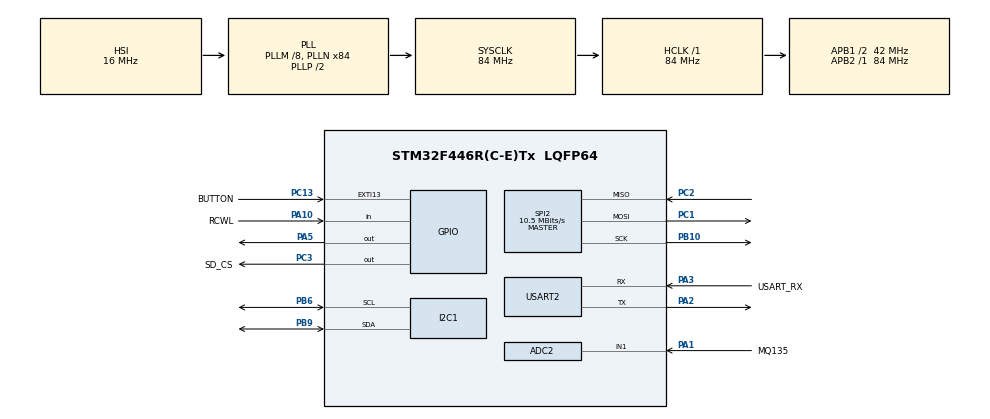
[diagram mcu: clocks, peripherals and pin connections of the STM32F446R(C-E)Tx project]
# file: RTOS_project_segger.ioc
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ADC1.Channel-2\#ChannelRegularConversion=ADC_CHANNEL_TEMPSENSOR
ADC1.Channel-3\#ChannelRegularConversion=ADC_CHANNEL_VREFINT
ADC1.ClockPrescaler=ADC_CLOCK_SYNC_PCLK_DIV4
ADC1.ContinuousConvMode=DISABLE
ADC1.DMAContinuousRequests=ENABLE
ADC1.ExternalTrigConv=ADC_EXTERNALTRIGCONV_T3_TRGO
ADC1.ExternalTrigConvEdge=ADC_EXTERNALTRIGCONVEDGE_FALLING
ADC1.NbrOfConversion=2
ADC1.NbrOfConversionFlag=1
ADC1.Rank-2\#ChannelRegularConversion=1
ADC1.Rank-3\#ChannelRegularConversion=2
ADC1.SamplingTime-2\#ChannelRegularConversion=ADC_SAMPLETIME_480CYCLES
ADC1.SamplingTime-3\#ChannelRegularConversion=ADC_SAMPLETIME_480CYCLES
ADC1.ScanConvMode=ENABLE
ADC1.master=1
ADC2.Channel-1\#ChannelRegularConversion=ADC_CHANNEL_1
ADC2.ClockPrescaler=ADC_CLOCK_SYNC_PCLK_DIV4
ADC2.NbrOfConversionFlag=1
ADC2.Rank-1\#ChannelRegularConversion=1
ADC2.SamplingTime-1\#ChannelRegularConversion=ADC_SAMPLETIME_480CYCLES
Dma.ADC1.0.Direction=DMA_PERIPH_TO_MEMORY
Dma.ADC1.0.FIFOMode=DMA_FIFOMODE_DISABLE
Dma.ADC1.0.Instance=DMA2_Stream0
Dma.ADC1.0.MemDataAlignment=DMA_MDATAALIGN_HALFWORD
Dma.ADC1.0.MemInc=DMA_MINC_ENABLE
Dma.ADC1.0.Mode=DMA_CIRCULAR
Dma.ADC1.0.PeriphDataAlignment=DMA_PDATAALIGN_HALFWORD
Dma.ADC1.0.PeriphInc=DMA_PINC_DISABLE
Dma.ADC1.0.Priority=DMA_PRIORITY_HIGH
Dma.Request0=ADC1
FATFS._MAX_SS=4096
FATFS._USE_LFN=2
FREERTOS.Tasks01=idleTask,24,128,StartDefaultTask,Default,NULL,Dynamic,NULL,NULL
FREERTOS.configGENERATE_RUN_TIME_STATS=1
FREERTOS.configUSE_NEWLIB_REENTRANT=1
FREERTOS.configUSE_STATS_FORMATTING_FUNCTIONS=1
FREERTOS.configUSE_TICKLESS_IDLE=2
I2C1.I2C_Mode=I2C_Fast
Mcu.Family=STM32F4
Mcu.Name=STM32F446R(C-E)Tx
Mcu.Package=LQFP64
NVIC.DMA2_Stream0_IRQn=true\:1\:0\:true\:false\:true\:false\:false\:true\:true
NVIC.EXTI15_10_IRQn=true\:5\:0\:false\:false\:true\:true\:true\:true\:true
NVIC.I2C1_ER_IRQn=true\:5\:0\:false\:false\:true\:true\:true\:true\:true
NVIC.I2C1_EV_IRQn=true\:5\:0\:false\:false\:true\:true\:true\:true\:true
NVIC.PriorityGroup=NVIC_PRIORITYGROUP_4
NVIC.TIM1_TRG_COM_TIM11_IRQn=true\:5\:0\:false\:false\:true\:true\:true\:true\:true
NVIC.TIM6_DAC_IRQn=true\:15\:0\:true\:false\:true\:false\:false\:true\:true
NVIC.TimeBase=TIM6_DAC_IRQn
NVIC.TimeBaseIP=TIM6
PA1.GPIO_Label=MQ135
PA1.Signal=ADCx_IN1
PA10.GPIO_Label=RCWL
PA10.Signal=GPIO_Input
PA13.GPIO_Label=TMS
PA13.Mode=Trace_Asynchronous_SW
PA13.Signal=SYS_JTMS-SWDIO
PA14.GPIO_Label=TCK
PA14.Mode=Trace_Asynchronous_SW
PA14.Signal=SYS_JTCK-SWCLK
PA2.Mode=Asynchronous
PA2.Signal=USART2_TX
PA3.GPIO_Label=USART_RX
PA3.Mode=Asynchronous
PA3.Signal=USART2_RX
PA5.Signal=GPIO_Output
PB10.Mode=Full_Duplex_Master
PB10.Signal=SPI2_SCK
PB3.GPIO_Label=SWO
PB3.Mode=Trace_Asynchronous_SW
PB3.Signal=SYS_JTDO-SWO
PB6.Mode=I2C
PB6.Signal=I2C1_SCL
PB9.Mode=I2C
PB9.Signal=I2C1_SDA
PC1.Mode=Full_Duplex_Master
PC1.Signal=SPI2_MOSI
PC13.GPIO_Label=BUTTON
PC13.GPIO_PuPd=GPIO_PULLUP
PC13.Signal=GPXTI13
PC14-OSC32_IN.Mode=LSE-External-Oscillator
PC14-OSC32_IN.Signal=RCC_OSC32_IN
PC15-OSC32_OUT.Mode=LSE-External-Oscillator
PC15-OSC32_OUT.Signal=RCC_OSC32_OUT
PC2.Mode=Full_Duplex_Master
PC2.Signal=SPI2_MISO
PC3.GPIO_Label=SD_CS
PC3.Signal=GPIO_Output
PH0-OSC_IN.Mode=HSE-External-Oscillator
PH0-OSC_IN.Signal=RCC_OSC_IN
PH1-OSC_OUT.Mode=HSE-External-Oscillator
PH1-OSC_OUT.Signal=RCC_OSC_OUT
ProjectManager.HeapSize=0x800
ProjectManager.StackSize=0x800
ProjectManager.TargetToolchain=STM32CubeIDE
RCC.AHBFreq_Value=84000000
RCC.APB1CLKDivider=RCC_HCLK_DIV2
RCC.APB1Freq_Value=42000000
RCC.APB1TimFreq_Value=84000000
RCC.APB2Freq_Value=84000000
RCC.APB2TimFreq_Value=84000000
RCC.CortexFreq_Value=84000000
RCC.FLatency-AdvancedSettings=FLASH_LATENCY_2
RCC.HCLKFreq_Value=84000000
RCC.HSE_VALUE=8000000
RCC.HSI_VALUE=16000000
RCC.PLLM=8
RCC.PLLN=84
RCC.SYSCLKFreq_VALUE=84000000
RCC.SYSCLKSource=RCC_SYSCLKSOURCE_PLLCLK
RCC.USBFreq_Value=84000000
RCC.VCOOutputFreq_Value=168000000
RTC.Alarm=RTC_ALARM_A
RTC.Date=10
RTC.Format=RTC_FORMAT_BIN
RTC.Hours=17
RTC.Minutes=42
RTC.Month=RTC_MONTH_NOVEMBER
RTC.Seconds=30
RTC.WeekDay=RTC_WEEKDAY_SUNDAY
RTC.Year=24
SH.ADCx_IN1.0=ADC2_IN1,IN1
SPI2.BaudRatePrescaler=SPI_BAUDRATEPRESCALER_4
SPI2.CalculateBaudRate=10.5 MBits/s
SPI2.Direction=SPI_DIRECTION_2LINES
SPI2.Mode=SPI_MODE_MASTER
SPI2.VirtualType=VM_MASTER
STMicroelectronics.X-CUBE-AI.9.1.0.HeapSize=0x800
STMicroelectronics.X-CUBE-AI.9.1.0.ReadyForCodeGeneration=false
STMicroelectronics.X-CUBE-AI.9.1.0.StackSize=0x800
TIM3.AutoReloadPreload=TIM_AUTORELOAD_PRELOAD_ENABLE
TIM3.Period=1000-1
TIM3.Prescaler=840-1
TIM3.TIM_MasterOutputTrigger=TIM_TRGO_UPDATE
USART2.VirtualMode=VM_ASYNC
VP_ADC1_TempSens_Input.Mode=IN-TempSens
VP_ADC1_Vref_Input.Mode=IN-Vrefint
VP_FATFS_VS_Generic.Mode=User_defined
VP_FREERTOS_VS_CMSIS_V2.Mode=CMSIS_V2
VP_RTC_VS_RTC_Activate.Mode=RTC_Enabled
VP_RTC_VS_RTC_Alarm_A_Intern.Mode=Alarm A
VP_RTC_VS_RTC_Calendar.Mode=RTC_Calendar
VP_SYS_VS_tim6.Mode=TIM6
VP_TIM11_VS_ClockSourceINT.Mode=Enable_Timer
VP_TIM3_VS_ClockSourceINT.Mode=Internal
board=NUCLEO-F446RE

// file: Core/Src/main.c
/* USER CODE BEGIN Header */
/**
  ******************************************************************************
  * @file           : main.c
  * @brief          : Main program body
  ******************************************************************************
  * @attention
  *
  * Copyright (c) 2024 STMicroelectronics.
  * All rights reserved.
  *
  * This software is licensed under terms that can be found in the LICENSE file
  * in the root directory of this software component.
  * If no LICENSE file comes with this software, it is provided AS-IS.
  *
  ******************************************************************************
  */
/* USER CODE END Header */
#include "main.h"
#include "cmsis_os.h"
#include "fatfs.h"

/* USER CODE BEGIN Includes */
#include "string.h"
#include "stdbool.h"
#include "stdlib.h"
#include "stdio.h"
#include "ssd1306.h"
#include "fonts.h"
#include "stdio.h"
#include "bitmap.h"
#include "horse_anim.h"
#include "queue.h"
#include "dma_adc.h"
#include "UART.h"
#include "semphr.h"
#include "timers.h"
#include "SEGGER_SYSVIEW.h"
/* USER CODE END Includes */

/* USER CODE BEGIN PTD */
FATFS fs;
FATFS *pfs;
FIL fil;
UINT br,bw;
FRESULT fresult;
DWORD fre_clust;
uint32_t total, free_space;
char buffer[256];
char OLEDbuffer[256];
char motionState[50];
char adcVal[50];
char tempState[50];
char SDCardUART[30];
char help_str[10];
uint16_t adc_buffer[ADC_SAMPLES * 2 * 2] = { 0 }; // ADC_SAMPLES samples, 2 channels, 2 buffers
volatile uint32_t pressStartTime = 0;
volatile uint32_t pressEndTime = 0;
volatile BaseType_t isButtonPressed = pdFALSE;
uint8_t help = 1;
uint32_t count=0;
/* USER CODE END PTD */

/* USER CODE BEGIN PD */
RTC_TimeTypeDef sTime;
RTC_DateTypeDef sDate;

/* USER CODE END PD */

ADC_HandleTypeDef hadc1;
ADC_HandleTypeDef hadc2;
DMA_HandleTypeDef hdma_adc1;

I2C_HandleTypeDef hi2c1;

RTC_HandleTypeDef hrtc;

SPI_HandleTypeDef hspi2;

TIM_HandleTypeDef htim3;
TIM_HandleTypeDef htim11;

UART_HandleTypeDef huart2;

/* Definitions for idleTask */
osThreadId_t idleTaskHandle;
const osThreadAttr_t idleTask_attributes = {
  .name = "idleTask",
  .stack_size = 128 * 4,
  .priority = (osPriority_t) osPriorityNormal,
};
/* USER CODE BEGIN PV */
#define MAX_QUEUE_SIZE 10
#define MAX_CHARS 40
/* USER CODE END PV */

void SystemClock_Config(void);
static void MX_GPIO_Init(void);
static void MX_DMA_Init(void);
static void MX_USART2_UART_Init(void);
static void MX_RTC_Init(void);
static void MX_SPI2_Init(void);
static void MX_ADC1_Init(void);
static void MX_ADC2_Init(void);
static void MX_I2C1_Init(void);
static void MX_TIM3_Init(void);
static void MX_TIM11_Init(void);
void StartDefaultTask(void *argument);

/* USER CODE BEGIN PFP */
//void MX_FREERTOS_Init(void);
void MX_FREERTOS_Init(void);
void SDCard_Init(void);
/* USER CODE END PFP */

/* USER CODE BEGIN 0 */
void vRCWLtask(void *pvParameters);
void vUARTtask(void *pvParameters);
void vAQItask(void *pvParameters);
void vRTCtask(void *pvParameters);
void vMQ135task(void *pvParameters);
void vInternalTemptask(void *pvParameters);
void vSwitchtask(void *pvParameters);
void vTimerCallback(TimerHandle_t xTimer);
void printOLED(char*string, uint8_t y);
void send_SDCard(char*string);
TaskHandle_t RCWL_Handle=NULL;
TaskHandle_t AQI_Handle=NULL;
TaskHandle_t RTC_Handle=NULL;
TaskHandle_t UART_Handle=NULL;
TaskHandle_t MQ135_Handle=NULL;
TaskHandle_t InternalTemp_Handle=NULL;
TaskHandle_t Switch_Handle=NULL;
SemaphoreHandle_t MutexOne=NULL;
SemaphoreHandle_t binarySemaphoreISR=NULL;
TimerHandle_t buttonPressTimer=NULL;

/* USER CODE END 0 */

int main(void)
{

  /* MCU Configuration--------------------------------------------------------*/

  /* Reset of all peripherals, Initializes the Flash interface and the Systick. */
  HAL_Init();

  /* Configure the system clock */
  SystemClock_Config();

  /* Initialize all configured peripherals */
  MX_GPIO_Init();
  MX_DMA_Init();
  MX_USART2_UART_Init();
  MX_RTC_Init();
  MX_SPI2_Init();
  MX_FATFS_Init();
  MX_ADC1_Init();
  MX_ADC2_Init();
  MX_I2C1_Init();
  MX_TIM3_Init();
  MX_TIM11_Init();

  /* Init scheduler */
  osKernelInitialize();

  /* USER CODE BEGIN RTOS_MUTEX */
  MutexOne = xSemaphoreCreateMutex();
  binarySemaphoreISR = xSemaphoreCreateBinary();
  /* add mutexes, ... */
  /* USER CODE END RTOS_MUTEX */

  /* USER CODE BEGIN RTOS_TIMERS */
  buttonPressTimer = xTimerCreate("ButtonPressTimer", pdMS_TO_TICKS(150), pdTRUE, NULL, vTimerCallback);
  /* start timers, add new ones, ... */
  /* USER CODE END RTOS_TIMERS */

  /* Create the thread(s) */
  /* creation of idleTask */
  idleTaskHandle = osThreadNew(StartDefaultTask, NULL, &idleTask_attributes);

  /* USER CODE BEGIN RTOS_THREADS */
  /* add threads, ... */

  xTaskCreate(vUARTtask,"UART_Task", 128, NULL, 1, &UART_Handle);// at 256-Stack Size HELP doesn't prints on OLED SCREEN. ONLY GOD KNOWS WHY!!
  xTaskCreate(vRCWLtask,"RCWL_Tsk", 512, NULL, 2, &RCWL_Handle);
  xTaskCreate(vMQ135task,"MQ135_Task", 512, NULL, 2, &MQ135_Handle);
  xTaskCreate(vInternalTemptask,"Temp_Task", 512, NULL, 2, &InternalTemp_Handle);
  xTaskCreate(vRTCtask,"RTC_Task", 512, NULL, 2, &RTC_Handle);///////
  xTaskCreate(vSwitchtask,"Switch_Task", 1024, NULL, 3, &Switch_Handle);
  /* USER CODE END RTOS_THREADS */

  /* USER CODE BEGIN RTOS_EVENTS */
  SEGGER_SYSVIEW_Conf();
  vSetVarulMaxPRIGROUPValue();
  SEGGER_SYSVIEW_Start();

  SDCard_Init();
  MX_FREERTOS_Init();
  SSD1306_Init();
  SSD1306_Clear();

  /* add events, ... */
  /* USER CODE END RTOS_EVENTS */

  /* Start scheduler */
  osKernelStart();

  /* We should never get here as control is now taken by the scheduler */
  /* Infinite loop */
  /* USER CODE BEGIN WHILE */
  while (1)
  {
//  	SSD1306_GotoXY (10,10); // goto 10, 10
//		SSD1306_Puts("HELLOOOOOOOOWERT", &Font_7x10, 1);
//		SSD1306_UpdateScreen();
//  	char motionState[20];
//  	sprintf(motionState,"Motion");
//  	send_SDCard(motionState);
//  	HAL_Delay(500);
    /* USER CODE END WHILE */

  }
}

void SystemClock_Config(void)
{
  RCC_OscInitTypeDef RCC_OscInitStruct = {0};
  RCC_ClkInitTypeDef RCC_ClkInitStruct = {0};

  /** Configure the main internal regulator output voltage
  */
  __HAL_RCC_PWR_CLK_ENABLE();
  __HAL_PWR_VOLTAGESCALING_CONFIG(PWR_REGULATOR_VOLTAGE_SCALE3);

  /** Initializes the RCC Oscillators according to the specified parameters
  * in the RCC_OscInitTypeDef structure.
  */
  RCC_OscInitStruct.OscillatorType = RCC_OSCILLATORTYPE_HSI|RCC_OSCILLATORTYPE_LSI;
  RCC_OscInitStruct.LSEState = RCC_LSE_ON;
  RCC_OscInitStruct.HSIState = RCC_HSI_ON;
  RCC_OscInitStruct.HSICalibrationValue = RCC_HSICALIBRATION_DEFAULT;
  RCC_OscInitStruct.LSIState = RCC_LSI_ON;
  RCC_OscInitStruct.PLL.PLLState = RCC_PLL_ON;
  RCC_OscInitStruct.PLL.PLLSource = RCC_PLLSOURCE_HSI;
  RCC_OscInitStruct.PLL.PLLM = 8;
  RCC_OscInitStruct.PLL.PLLN = 84;
  RCC_OscInitStruct.PLL.PLLP = RCC_PLLP_DIV2;
  RCC_OscInitStruct.PLL.PLLQ = 2;
  RCC_OscInitStruct.PLL.PLLR = 2;
  if (HAL_RCC_OscConfig(&RCC_OscInitStruct) != HAL_OK)
  {
    Error_Handler();
  }

  /** Initializes the CPU, AHB and APB buses clocks
  */
  RCC_ClkInitStruct.ClockType = RCC_CLOCKTYPE_HCLK|RCC_CLOCKTYPE_SYSCLK
                              |RCC_CLOCKTYPE_PCLK1|RCC_CLOCKTYPE_PCLK2;
  RCC_ClkInitStruct.SYSCLKSource = RCC_SYSCLKSOURCE_PLLCLK;
  RCC_ClkInitStruct.AHBCLKDivider = RCC_SYSCLK_DIV1;
  RCC_ClkInitStruct.APB1CLKDivider = RCC_HCLK_DIV2;
  RCC_ClkInitStruct.APB2CLKDivider = RCC_HCLK_DIV1;

  if (HAL_RCC_ClockConfig(&RCC_ClkInitStruct, FLASH_LATENCY_2) != HAL_OK)
  {
    Error_Handler();
  }
}

static void MX_ADC1_Init(void)
{

  ADC_ChannelConfTypeDef sConfig = {0};

  /** Configure the global features of the ADC (Clock, Resolution, Data Alignment and number of conversion)
  */
  hadc1.Instance = ADC1;
  hadc1.Init.ClockPrescaler = ADC_CLOCK_SYNC_PCLK_DIV4;
  hadc1.Init.Resolution = ADC_RESOLUTION_12B;
  hadc1.Init.ScanConvMode = ENABLE;
  hadc1.Init.ContinuousConvMode = DISABLE;
  hadc1.Init.DiscontinuousConvMode = DISABLE;
  hadc1.Init.ExternalTrigConvEdge = ADC_EXTERNALTRIGCONVEDGE_FALLING;
  hadc1.Init.ExternalTrigConv = ADC_EXTERNALTRIGCONV_T3_TRGO;
  hadc1.Init.DataAlign = ADC_DATAALIGN_RIGHT;
  hadc1.Init.NbrOfConversion = 2;
  hadc1.Init.DMAContinuousRequests = ENABLE;
  hadc1.Init.EOCSelection = ADC_EOC_SINGLE_CONV;
  if (HAL_ADC_Init(&hadc1) != HAL_OK)
  {
    Error_Handler();
  }

  /** Configure for the selected ADC regular channel its corresponding rank in the sequencer and its sample time.
  */
  sConfig.Channel = ADC_CHANNEL_TEMPSENSOR;
  sConfig.Rank = 1;
  sConfig.SamplingTime = ADC_SAMPLETIME_480CYCLES;
  if (HAL_ADC_ConfigChannel(&hadc1, &sConfig) != HAL_OK)
  {
    Error_Handler();
  }

  /** Configure for the selected ADC regular channel its corresponding rank in the sequencer and its sample time.
  */
  sConfig.Channel = ADC_CHANNEL_VREFINT;
  sConfig.Rank = 2;
  if (HAL_ADC_ConfigChannel(&hadc1, &sConfig) != HAL_OK)
  {
    Error_Handler();
  }

}

static void MX_ADC2_Init(void)
{

  ADC_ChannelConfTypeDef sConfig = {0};

  /** Configure the global features of the ADC (Clock, Resolution, Data Alignment and number of conversion)
  */
  hadc2.Instance = ADC2;
  hadc2.Init.ClockPrescaler = ADC_CLOCK_SYNC_PCLK_DIV4;
  hadc2.Init.Resolution = ADC_RESOLUTION_12B;
  hadc2.Init.ScanConvMode = DISABLE;
  hadc2.Init.ContinuousConvMode = DISABLE;
  hadc2.Init.DiscontinuousConvMode = DISABLE;
  hadc2.Init.ExternalTrigConvEdge = ADC_EXTERNALTRIGCONVEDGE_NONE;
  hadc2.Init.ExternalTrigConv = ADC_SOFTWARE_START;
  hadc2.Init.DataAlign = ADC_DATAALIGN_RIGHT;
  hadc2.Init.NbrOfConversion = 1;
  hadc2.Init.DMAContinuousRequests = DISABLE;
  hadc2.Init.EOCSelection = ADC_EOC_SINGLE_CONV;
  if (HAL_ADC_Init(&hadc2) != HAL_OK)
  {
    Error_Handler();
  }

  /** Configure for the selected ADC regular channel its corresponding rank in the sequencer and its sample time.
  */
  sConfig.Channel = ADC_CHANNEL_1;
  sConfig.Rank = 1;
  sConfig.SamplingTime = ADC_SAMPLETIME_480CYCLES;
  if (HAL_ADC_ConfigChannel(&hadc2, &sConfig) != HAL_OK)
  {
    Error_Handler();
  }

}

static void MX_I2C1_Init(void)
{

  hi2c1.Instance = I2C1;
  hi2c1.Init.ClockSpeed = 400000;
  hi2c1.Init.DutyCycle = I2C_DUTYCYCLE_2;
  hi2c1.Init.OwnAddress1 = 0;
  hi2c1.Init.AddressingMode = I2C_ADDRESSINGMODE_7BIT;
  hi2c1.Init.DualAddressMode = I2C_DUALADDRESS_DISABLE;
  hi2c1.Init.OwnAddress2 = 0;
  hi2c1.Init.GeneralCallMode = I2C_GENERALCALL_DISABLE;
  hi2c1.Init.NoStretchMode = I2C_NOSTRETCH_DISABLE;
  if (HAL_I2C_Init(&hi2c1) != HAL_OK)
  {
    Error_Handler();
  }

}

static void MX_RTC_Init(void)
{

  RTC_TimeTypeDef sTime = {0};
  RTC_DateTypeDef sDate = {0};
  RTC_AlarmTypeDef sAlarm = {0};

  /** Initialize RTC Only
  */
  hrtc.Instance = RTC;
  hrtc.Init.HourFormat = RTC_HOURFORMAT_24;
  hrtc.Init.AsynchPrediv = 127;
  hrtc.Init.SynchPrediv = 255;
  hrtc.Init.OutPut = RTC_OUTPUT_DISABLE;
  hrtc.Init.OutPutPolarity = RTC_OUTPUT_POLARITY_HIGH;
  hrtc.Init.OutPutType = RTC_OUTPUT_TYPE_OPENDRAIN;
  if (HAL_RTC_Init(&hrtc) != HAL_OK)
  {
    Error_Handler();
  }

  /** Initialize RTC and set the Time and Date
  */
  sTime.Hours = 17;
  sTime.Minutes = 42;
  sTime.Seconds = 30;
  sTime.DayLightSaving = RTC_DAYLIGHTSAVING_NONE;
  sTime.StoreOperation = RTC_STOREOPERATION_RESET;
  if (HAL_RTC_SetTime(&hrtc, &sTime, RTC_FORMAT_BIN) != HAL_OK)
  {
    Error_Handler();
  }
  sDate.WeekDay = RTC_WEEKDAY_SUNDAY;
  sDate.Month = RTC_MONTH_NOVEMBER;
  sDate.Date = 10;
  sDate.Year = 24;

  if (HAL_RTC_SetDate(&hrtc, &sDate, RTC_FORMAT_BIN) != HAL_OK)
  {
    Error_Handler();
  }

  /** Enable the Alarm A
  */
  sAlarm.AlarmTime.Hours = 0;
  sAlarm.AlarmTime.Minutes = 0;
  sAlarm.AlarmTime.Seconds = 0;
  sAlarm.AlarmTime.SubSeconds = 0;
  sAlarm.AlarmTime.DayLightSaving = RTC_DAYLIGHTSAVING_NONE;
  sAlarm.AlarmTime.StoreOperation = RTC_STOREOPERATION_RESET;
  sAlarm.AlarmMask = RTC_ALARMMASK_NONE;
  sAlarm.AlarmSubSecondMask = RTC_ALARMSUBSECONDMASK_ALL;
  sAlarm.AlarmDateWeekDaySel = RTC_ALARMDATEWEEKDAYSEL_DATE;
  sAlarm.AlarmDateWeekDay = 1;
  sAlarm.Alarm = RTC_ALARM_A;
  if (HAL_RTC_SetAlarm(&hrtc, &sAlarm, RTC_FORMAT_BIN) != HAL_OK)
  {
    Error_Handler();
  }

}

static void MX_SPI2_Init(void)
{

  /* SPI2 parameter configuration*/
  hspi2.Instance = SPI2;
  hspi2.Init.Mode = SPI_MODE_MASTER;
  hspi2.Init.Direction = SPI_DIRECTION_2LINES;
  hspi2.Init.DataSize = SPI_DATASIZE_8BIT;
  hspi2.Init.CLKPolarity = SPI_POLARITY_LOW;
  hspi2.Init.CLKPhase = SPI_PHASE_1EDGE;
  hspi2.Init.NSS = SPI_NSS_SOFT;
  hspi2.Init.BaudRatePrescaler = SPI_BAUDRATEPRESCALER_4;
  hspi2.Init.FirstBit = SPI_FIRSTBIT_MSB;
  hspi2.Init.TIMode = SPI_TIMODE_DISABLE;
  hspi2.Init.CRCCalculation = SPI_CRCCALCULATION_DISABLE;
  hspi2.Init.CRCPolynomial = 10;
  if (HAL_SPI_Init(&hspi2) != HAL_OK)
  {
    Error_Handler();
  }

}

static void MX_TIM3_Init(void)
{

  TIM_ClockConfigTypeDef sClockSourceConfig = {0};
  TIM_MasterConfigTypeDef sMasterConfig = {0};

  htim3.Instance = TIM3;
  htim3.Init.Prescaler = 840-1;
  htim3.Init.CounterMode = TIM_COUNTERMODE_UP;
  htim3.Init.Period = 1000-1;
  htim3.Init.ClockDivision = TIM_CLOCKDIVISION_DIV1;
  htim3.Init.AutoReloadPreload = TIM_AUTORELOAD_PRELOAD_ENABLE;
  if (HAL_TIM_Base_Init(&htim3) != HAL_OK)
  {
    Error_Handler();
  }
  sClockSourceConfig.ClockSource = TIM_CLOCKSOURCE_INTERNAL;
  if (HAL_TIM_ConfigClockSource(&htim3, &sClockSourceConfig) != HAL_OK)
  {
    Error_Handler();
  }
  sMasterConfig.MasterOutputTrigger = TIM_TRGO_UPDATE;
  sMasterConfig.MasterSlaveMode = TIM_MASTERSLAVEMODE_DISABLE;
  if (HAL_TIMEx_MasterConfigSynchronization(&htim3, &sMasterConfig) != HAL_OK)
  {
    Error_Handler();
  }

}

static void MX_TIM11_Init(void)
{

  htim11.Instance = TIM11;
  htim11.Init.Prescaler = 0;
  htim11.Init.CounterMode = TIM_COUNTERMODE_UP;
  htim11.Init.Period = 65535;
  htim11.Init.ClockDivision = TIM_CLOCKDIVISION_DIV1;
  htim11.Init.AutoReloadPreload = TIM_AUTORELOAD_PRELOAD_DISABLE;
  if (HAL_TIM_Base_Init(&htim11) != HAL_OK)
  {
    Error_Handler();
  }

}

static void MX_USART2_UART_Init(void)
{

  huart2.Instance = USART2;
  huart2.Init.BaudRate = 115200;
  huart2.Init.WordLength = UART_WORDLENGTH_8B;
  huart2.Init.StopBits = UART_STOPBITS_1;
  huart2.Init.Parity = UART_PARITY_NONE;
  huart2.Init.Mode = UART_MODE_TX_RX;
  huart2.Init.HwFlowCtl = UART_HWCONTROL_NONE;
  huart2.Init.OverSampling = UART_OVERSAMPLING_16;
  if (HAL_UART_Init(&huart2) != HAL_OK)
  {
    Error_Handler();
  }

}

static void MX_DMA_Init(void)
{

  /* DMA controller clock enable */
  __HAL_RCC_DMA2_CLK_ENABLE();

  /* DMA interrupt init */
  /* DMA2_Stream0_IRQn interrupt configuration */
  HAL_NVIC_SetPriority(DMA2_Stream0_IRQn, 1, 0);
  HAL_NVIC_EnableIRQ(DMA2_Stream0_IRQn);

}

static void MX_GPIO_Init(void)
{
  GPIO_InitTypeDef GPIO_InitStruct = {0};

  /* GPIO Ports Clock Enable */
  __HAL_RCC_GPIOC_CLK_ENABLE();
  __HAL_RCC_GPIOH_CLK_ENABLE();
  __HAL_RCC_GPIOA_CLK_ENABLE();
  __HAL_RCC_GPIOB_CLK_ENABLE();

  /*Configure GPIO pin Output Level */
  HAL_GPIO_WritePin(SD_CS_GPIO_Port, SD_CS_Pin, GPIO_PIN_RESET);

  /*Configure GPIO pin Output Level */
  HAL_GPIO_WritePin(GPIOA, GPIO_PIN_5, GPIO_PIN_RESET);

  /*Configure GPIO pin : BUTTON_Pin */
  GPIO_InitStruct.Pin = BUTTON_Pin;
  GPIO_InitStruct.Mode = GPIO_MODE_IT_RISING;
  GPIO_InitStruct.Pull = GPIO_PULLUP;
  HAL_GPIO_Init(BUTTON_GPIO_Port, &GPIO_InitStruct);

  /*Configure GPIO pin : SD_CS_Pin */
  GPIO_InitStruct.Pin = SD_CS_Pin;
  GPIO_InitStruct.Mode = GPIO_MODE_OUTPUT_PP;
  GPIO_InitStruct.Pull = GPIO_NOPULL;
  GPIO_InitStruct.Speed = GPIO_SPEED_FREQ_LOW;
  HAL_GPIO_Init(SD_CS_GPIO_Port, &GPIO_InitStruct);

  /*Configure GPIO pin : PA5 */
  GPIO_InitStruct.Pin = GPIO_PIN_5;
  GPIO_InitStruct.Mode = GPIO_MODE_OUTPUT_PP;
  GPIO_InitStruct.Pull = GPIO_NOPULL;
  GPIO_InitStruct.Speed = GPIO_SPEED_FREQ_LOW;
  HAL_GPIO_Init(GPIOA, &GPIO_InitStruct);

  /*Configure GPIO pin : RCWL_Pin */
  GPIO_InitStruct.Pin = RCWL_Pin;
  GPIO_InitStruct.Mode = GPIO_MODE_INPUT;
  GPIO_InitStruct.Pull = GPIO_NOPULL;
  HAL_GPIO_Init(RCWL_GPIO_Port, &GPIO_InitStruct);

  /* EXTI interrupt init*/
  HAL_NVIC_SetPriority(EXTI15_10_IRQn, 5, 0);
  HAL_NVIC_EnableIRQ(EXTI15_10_IRQn);

}

/* USER CODE BEGIN 4 */

void SDCard_Init(void){
	fresult=f_mount(&fs,"",0);
	if(fresult!=FR_OK){
		send_uart("error in mounting SD card ....\n\r");
	}
	else{
		send_uart("SD card mounted\n\r");
	}
}

void MX_FREERTOS_Init(void){
	vQueueAddToRegistry(binarySemaphoreISR, "binary_semaphore_ISR");
	vQueueAddToRegistry(MutexOne, "Mutex_One");
}

void send_OLED(char*string, uint8_t y){
	if(help){
		SSD1306_GotoXY (5,y); // goto 10, 10
		SSD1306_Puts(string, &Font_7x10, 1);
		SSD1306_UpdateScreen();
	}
}

void send_SDCard(char*string){
		count++;
		fresult=f_open(&fil, "data.txt", FA_OPEN_ALWAYS | FA_WRITE | FA_OPEN_APPEND);
		strcat(string, "\n\r");
		fresult = f_puts(string,&fil);
		f_close(&fil);
}

void vUARTtask(void *pvParameters){
//	uint16_t count=0;
	while(1){
//		count++;
//		sprintf(buffer,"count is %d\n\r",count);
//		send_uart(buffer);
//		vTaskDelay(50);
	}
}

void vSwitchtask(void *pvParameters){
	while(1){
		if(xSemaphoreTake(binarySemaphoreISR, portMAX_DELAY)==pdTRUE ){
			if (!isButtonPressed) {
				pressStartTime = xTaskGetTickCount();
				isButtonPressed = pdTRUE;
				xTimerStart(buttonPressTimer, 0);

				help=0;
				sprintf(help_str,"HELP");
				fresult=f_open(&fil, "data.txt", FA_OPEN_ALWAYS | FA_WRITE | FA_OPEN_APPEND);
				strcat(help_str,"\n\r");
				fresult = f_puts(help_str,&fil);
				f_close(&fil);

				SSD1306_Clear();
				vTaskDelay(20);
				SSD1306_GotoXY (25,20);
				SSD1306_Puts("HELP", &Font_16x26, 1);
				SSD1306_UpdateScreen();
				send_uart("Button Pressed\r\n");
				vTaskDelay(970);

				help=1;
			}
			vTaskDelay(20);
		}
	}
}

void vInternalTemptask(void *pvParameters){
  HAL_TIM_Base_Start_IT(&htim3); // First get the timer running
	HAL_ADC_Start_DMA(&hadc1, (uint32_t*) adc_buffer, ADC_SAMPLES * 2 * 2); // Now fire up the ADC DMA
	while(1){
		sprintf(tempState,"Temp = %4.2f C",temp);// to get raw value call temp_avg variable
		if(xSemaphoreTake(MutexOne, portMAX_DELAY)==pdTRUE){
			send_OLED(tempState, 50);
			send_SDCard(tempState);
			send_uart(tempState);
			xSemaphoreGive(MutexOne);
		}
		vTaskDelay(20);
	}
}

void vRCWLtask(void *pvParameters){
	while(1){
		uint8_t rcwl = HAL_GPIO_ReadPin(GPIOA, GPIO_PIN_10);
		char *rcwl_state = (rcwl == 1) ? "HIGH" : "LOW ";
		sprintf(motionState,"Motion: %s", rcwl_state);
		if(xSemaphoreTake(MutexOne, portMAX_DELAY)==pdTRUE){
			send_OLED(motionState, 30);
			send_SDCard(motionState);
			send_uart(motionState);
			xSemaphoreGive(MutexOne);
		}
		vTaskDelay(5);
	}
}

void vRTCtask(void *pvParameters){
	while(1){
		char time[60];
		char date[60];
		HAL_RTC_GetTime(&hrtc, &sTime, RTC_FORMAT_BIN);
		HAL_RTC_GetDate(&hrtc, &sDate, RTC_FORMAT_BIN);
		sprintf(date,"Date :%02d.%02d.%02d",sDate.Date, sDate.Month, sDate.Year);
		sprintf(time,"Time :%02d.%02d.%02d",sTime.Hours,sTime.Minutes,sTime.Seconds);
		if(xSemaphoreTake(MutexOne, portMAX_DELAY)==pdTRUE){
			send_OLED(date, 10);
			send_OLED(time, 20);
			send_SDCard(date);
			vTaskDelay(5);
			send_SDCard(time);
			vTaskDelay(5);
			send_uart(date);
			send_uart(time);
			xSemaphoreGive(MutexOne);
		}
		vTaskDelay(10);
	}
}

void vMQ135task(void *pvParameters){
	while(1){
		HAL_ADC_Start(&hadc2);
		HAL_ADC_PollForConversion(&hadc2, HAL_MAX_DELAY);
		uint16_t adc_value= HAL_ADC_GetValue(&hadc2);
		HAL_ADC_Stop(&hadc2);
		sprintf(adcVal,"AQI is %d   ",adc_value);
		if(xSemaphoreTake(MutexOne, portMAX_DELAY)==pdTRUE){
			send_OLED(adcVal, 40);
			send_SDCard(adcVal);
			send_uart(adcVal);
			xSemaphoreGive(MutexOne);
		}
		vTaskDelay(20);
	}
}

void vTimerCallback(TimerHandle_t xTimer) {
    // Handle cases where the button is held but not released
    if (isButtonPressed) {
        pressEndTime = xTaskGetTickCount();
        uint32_t pressDurationMs = (pressEndTime - pressStartTime) * portTICK_PERIOD_MS;

        if (pressDurationMs > 3000) {
            send_uart("Help Resolved by Nurse\r\n");
        }
        isButtonPressed = pdFALSE;
    }
}

void HAL_ADC_ConvHalfCpltCallback(ADC_HandleTypeDef *hadc){
    process_adc_buffer(&adc_buffer[0]); // We're half way through the buffer, so can safely deal with first half
}

void HAL_ADC_ConvCpltCallback(ADC_HandleTypeDef *hadc){
    process_adc_buffer(&adc_buffer[ADC_SAMPLES * 2]); // We're all the way through the buffer, so deal with second half
}

void HAL_GPIO_EXTI_Callback(uint16_t GPIO_Pin){
	BaseType_t xHigherPriorityTaskWoken;
	xHigherPriorityTaskWoken = pdFALSE;
	xSemaphoreGiveFromISR( binarySemaphoreISR, &xHigherPriorityTaskWoken );
	portYIELD_FROM_ISR(xHigherPriorityTaskWoken);
}

/* USER CODE END 4 */

void StartDefaultTask(void *argument)
{
  for(;;)
  {
    osDelay(1);
  }
}

void HAL_TIM_PeriodElapsedCallback(TIM_HandleTypeDef *htim)
{
  /* USER CODE BEGIN Callback 0 */
	if (htim->Instance == TIM3) {
		if (tim_cnt % 500 == 0)
//				HAL_GPIO_TogglePin(GPIOA, GPIO_PIN_5);
		tim_cnt++;
	}

  /* USER CODE END Callback 0 */
  if (htim->Instance == TIM6) {
    HAL_IncTick();
  }
}

void Error_Handler(void)
{
  __disable_irq();
  while (1)
  {
  }
}
